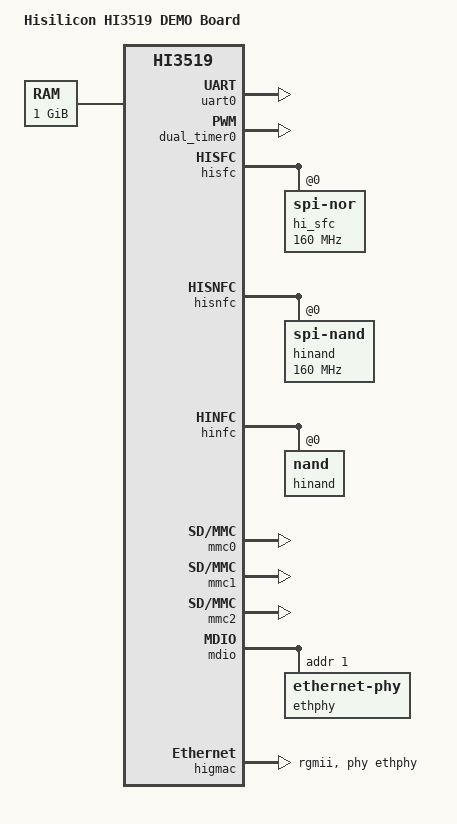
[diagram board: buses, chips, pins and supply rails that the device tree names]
/*
 * Copyright (c) 2013-2014 Linaro Ltd.
 * Copyright (c) 2015 HiSilicon Technologies Co., Ltd.
 *
 * This program is free software; you can redistribute  it and/or modify it
 * under  the terms of  the GNU General  Public License as published by the
 * Free Software Foundation;  either version 2 of the  License, or (at your
 * option) any later version.
 *
 * This program is distributed in the hope that it will be useful,
 * but WITHOUT ANY WARRANTY; without even the implied warranty of
 * MERCHANTABILITY or FITNESS FOR A PARTICULAR PURPOSE. See the
 * GNU General Public License for more details.
 *
 * You should have received a copy of the GNU General Public License
 * along with this program.  If not, see <http://www.gnu.org/licenses/>.
 *
 */

/dts-v1/;
#include "hisi-hi3519.dtsi"

/ {
	model = "Hisilicon HI3519 DEMO Board";
	compatible = "hisilicon,hi3519";

	cpus {
		#address-cells = <1>;
		#size-cells = <0>;
		enable-method = "hisilicon,hi3519-smp";

		cpu@0 {
			compatible = "arm,cortex-a7";
			device_type = "cpu";
			clock-frequency = <HI3519_FIXED_792M>;
			reg = <0>;
			cci-control-port = <&cci_control0>;
		};

		/*cpu@100 {
			compatible = "arm,cortex-a17";
			device_type = "cpu";
			clock-frequency = <HI3519_FIXED_1000M>;
			reg = <0x100>;
			cci-control-port = <&cci_control1>;
		};*/
	};

	memory {
		device_type = "memory";
		reg = <0x80000000 0x40000000>;
	};
};

&uart0 {
	status = "okay";
};

&dual_timer0 {
	status = "okay";
};

&hisfc {
	hi_sfc {
		compatible = "jedec,spi-nor";
		reg = <0>;
		spi-max-frequency = <160000000>;
		m25p,fast-read;
	};
};

&hisnfc {
	hinand {
		compatible = "jedec,spi-nand";
		reg = <0>;
		spi-max-frequency = <160000000>;
	};
};

&hinfc {
	hinand {
		compatible = "jedec,nand";
		reg = <0>;
		nand-max-frequency = <200000000>;
	};
};

&mmc0 {
	status = "okay";
};

&mmc1 {
	status = "okay";
};

&mmc2 {
	status = "okay";
};

&mdio {
	ethphy: ethernet-phy@1 {
		reg = <1>;
	};
};

&higmac {
	phy-handle = <&ethphy>;
	phy-mode = "rgmii";
};
